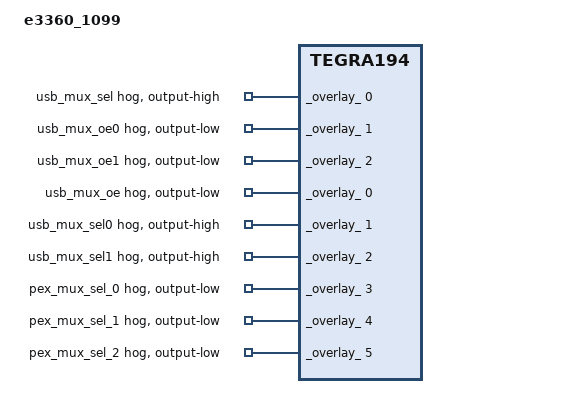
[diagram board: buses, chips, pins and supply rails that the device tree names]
/*
 * T194 E3360-1099 CVM DTSI file.
 *
 * Copyright (c) 2017, NVIDIA CORPORATION.  All rights reserved.
 *
 * This program is free software; you can redistribute it and/or modify
 * it under the terms of the GNU General Public License as published by
 * the Free Software Foundation; version 2 of the License.
 *
 * This program is distributed in the hope that it will be useful, but WITHOUT
 * ANY WARRANTY; without even the implied warranty of MERCHANTABILITY or
 * FITNESS FOR A PARTICULAR PURPOSE.  See the GNU General Public License for
 * more details.
 */

#include <dt-bindings/types.h>
/dts-v1/;

/memreserve/ 0x80000000 0x00010000;

#include <tegra194-soc/tegra194-soc-cvm.dtsi>

/ {
	model = "e3360_1099";
	compatible = "nvidia,e3360_1099", "nvidia,tegra194";

	#address-cells = <2>;
	#size-cells = <2>;

	pmc@c360000 {
		iopad_defaults: iopad-defaults {
			sdmmc-io-pads {
				pins = "sdmmc1-hv", "sdmmc3-hv";
				nvidia,enable-voltage-switching;
			};
		};
	};

	pmc@c370000 {
		nvidia,invert-interrupt;
	};

	plugin-manager {
		fragment-e3360-a00-mods {
			odm-data = "mods-build";
			override@0 {
				target = <&gpcdma>;
				_overlay_ {
					nvidia,bypass-smmu;
				};
			};
			override@1 {
				target = <&dp_aux_ch0_i2c>;
				_overlay_ {
					delete-target-property = "dmas";
				};
			};
			override@2 {
				target = <&dp_aux_ch1_i2c>;
				_overlay_ {
					delete-target-property = "dmas";
				};
			};
			override@3 {
				target = <&dp_aux_ch2_i2c>;
				_overlay_ {
					delete-target-property = "dmas";
				};
			};
			override@4 {
				target = <&dp_aux_ch3_i2c>;
				_overlay_ {
					delete-target-property = "dmas";
				};
			};
		};
		fragment-e3360-a00-xusb {
			ids = "3360-1099-000", "3360-1098-000";
			override@0 {
				target = <&e3360_gpio_u5061>;
				_overlay_ {
					usb_mux_sel {
						gpio-hog;
						output-high;
						gpios = <0 0>;
						label = "usb_mux_sel";
						status = "okay";
					};
					usb_mux_oe0 {
						gpio-hog;
						output-low;
						gpios = <1 0>;
						label = "usb_mux_oe0";
						status = "okay";
					};
					usb_mux_oe1 {
						gpio-hog;
						output-low;
						gpios = <2 0>;
						label = "usb_mux_oe1";
						status = "okay";
					};
				};
			};
		};

		fragment-e3360-a01-xusb {
			ids = "3360-1099-100", "3360-1098-100";
			override@0 {
				target = <&e3360_gpio_u5061>;
				_overlay_ {
					usb_mux_oe {
						gpio-hog;
						output-low;
						gpios = <0 0>;
						label = "usb_mux_oe";
						status = "okay";
					};
					usb_mux_sel0 {
						gpio-hog;
						output-high;
						gpios = <1 0>;
						label = "usb_mux_sel0";
						status = "okay";
					};
					usb_mux_sel1 {
						gpio-hog;
						output-high;
						gpios = <2 0>;
						label = "usb_mux_sel1";
						status = "okay";
					};
				};
			};
			override@1 {
				target = <&e3360_gpio_u5062>;
				_overlay_ {
					pex_mux_sel_0 {
						gpio-hog;
						output-low;
						gpios = <3 0>;
						label = "pex_mux_sel_0";
						status = "okay";
					};
					pex_mux_sel_1 {
						gpio-hog;
						output-low;
						gpios = <4 0>;
						label = "pex_mux_sel_1";
						status = "okay";
					};
					pex_mux_sel_2 {
						gpio-hog;
						output-low;
						gpios = <5 0>;
						label = "pex_mux_sel_2";
						status = "okay";
					};
				};
			};
		};
	};
};
